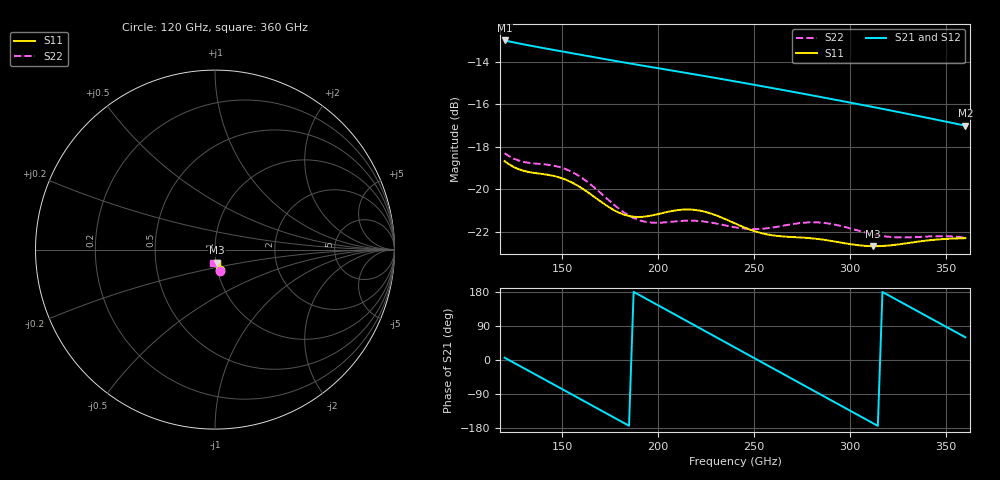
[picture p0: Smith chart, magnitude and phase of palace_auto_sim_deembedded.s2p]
! Created with skrf 1.11.0 (http://scikit-rf.org).
# GHz S DB R 50.0
!freq dBS11 angS11 dBS21 angS21 dBS12 angS12 dBS22 angS22
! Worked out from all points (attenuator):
!   101 points, 120 GHz to 360 GHz, reference 50 ohm
!   highest |S21| = -12.99 dB at 120 GHz (marker M1); lowest = -17.0 dB at 360 GHz (marker M2)
!   lowest |S11| = -22.7 dB at 312 GHz (marker M3), VSWR 1.16, Z = 50.6 - j7.39 ohm
!   |S11| at or under -10 dB: start of sweep to end of sweep
!   |S22| runs from -22.3 to -18.3 dB; largest |S21 - S12| = 3.9e-16
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120  -18.67 -77.0  -12.99 6.1  -12.99 6.1  -18.29 -78.0
129.6  -19.12 -74.9  -13.17 -20.4  -13.17 -20.4  -18.70 -76.4
141.6  -19.30 -74.6  -13.37 -53.6  -13.37 -53.6  -18.83 -76.9
151.2  -19.52 -76.3  -13.53 -80.2  -13.53 -80.2  -19.02 -79.5
160.8  -19.98 -78.3  -13.68 -106.9  -13.68 -106.9  -19.49 -82.7
172.8  -20.74 -78.7  -13.88 -140.2  -13.88 -140.2  -20.39 -84.8
182.4  -21.19 -76.8  -14.03 -166.9  -14.03 -166.9  -21.10 -83.9
192  -21.29 -74.7  -14.18 166.4  -14.18 166.4  -21.50 -81.6
201.6  -21.13 -74.0  -14.32 139.8  -14.32 139.8  -21.56 -79.8
211.2  -20.96 -75.3  -14.47 113.1  -14.47 113.1  -21.49 -79.6
220.8  -20.98 -77.8  -14.61 86.3  -14.61 86.3  -21.48 -80.6
230.4  -21.23 -80.2  -14.76 59.6  -14.76 59.6  -21.61 -81.7
240  -21.60 -81.5  -14.92 32.9  -14.92 32.9  -21.78 -82.2
249.6  -21.95 -81.6  -15.07 6.2  -15.07 6.2  -21.87 -82.1
259.2  -22.16 -81.1  -15.23 -20.5  -15.23 -20.5  -21.80 -82.2
271.2  -22.25 -80.8  -15.42 -53.9  -15.42 -53.9  -21.62 -83.7
280.8  -22.31 -81.2  -15.59 -80.6  -15.59 -80.6  -21.55 -85.9
295.2  -22.50 -81.8  -15.83 -120.6  -15.83 -120.6  -21.72 -89.6
312  -22.67 -81.2  -16.12 -167.2  -16.12 -167.2  -22.11 -91.9
321.6  -22.63 -80.7  -16.29 166.2  -16.29 166.2  -22.24 -92.3
340.8  -22.40 -81.4  -16.64 113.0  -16.64 113.0  -22.21 -94.1
360  -22.29 -83.4  -17.00 59.8  -17.00 59.8  -22.27 -98.1
